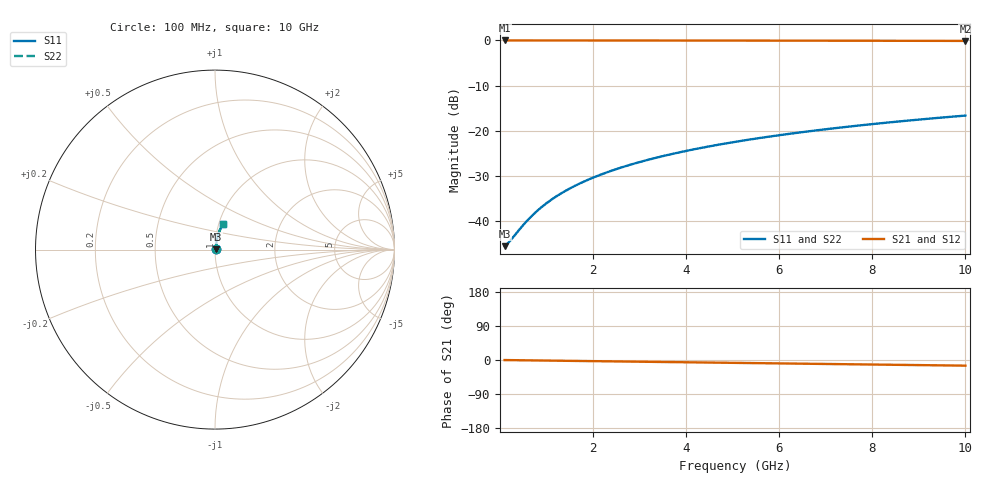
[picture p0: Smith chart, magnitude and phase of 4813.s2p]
# Hz S RI R 50.00
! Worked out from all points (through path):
!   100 points, 100 MHz to 10 GHz, reference 50 ohm
!   highest |S21| = -0.04 dB at 100 MHz (marker M1); lowest = -0.1 dB at 10 GHz (marker M2)
!   group delay of S21, straight-line fit = 4.15 ps
!   lowest |S11| = -45.5 dB at 100 MHz (marker M3), VSWR 1.01, Z = 50.5 + j0.15 ohm
!   |S11| at or under -10 dB: start of sweep to end of sweep
!   |S22| runs from -45.5 to -16.6 dB; largest |S21 - S12| = 0
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1e8  0.00512 0.00148  0.9949 -0.0026  0.9949 -0.0026  0.00512 0.00148
2e8  0.00516 0.00297  0.9948 -0.00521  0.9948 -0.00521  0.00516 0.00297
5e8  0.00531 0.00742  0.9947 -0.013  0.9947 -0.013  0.00531 0.00742
6e8  0.00536 0.0089  0.9946 -0.0156  0.9946 -0.0156  0.00536 0.0089
7e8  0.00543 0.0104  0.9945 -0.0182  0.9945 -0.0182  0.00543 0.0104
9e8  0.00557 0.0133  0.9944 -0.0234  0.9944 -0.0234  0.00557 0.0133
1.1e9  0.00575 0.0163  0.9942 -0.0286  0.9942 -0.0286  0.00575 0.0163
1.3e9  0.00595 0.0193  0.9939 -0.0338  0.9939 -0.0338  0.00595 0.0193
1.5e9  0.00619 0.0222  0.9937 -0.039  0.9937 -0.039  0.00619 0.0222
1.8e9  0.00659 0.0267  0.9932 -0.0468  0.9932 -0.0468  0.00659 0.0267
2.1e9  0.00707 0.0311  0.9926 -0.0546  0.9926 -0.0546  0.00707 0.0311
2.5e9  0.0078 0.037  0.9918 -0.0649  0.9918 -0.0649  0.0078 0.037
2.9e9  0.00866 0.0428  0.9908 -0.0753  0.9908 -0.0753  0.00866 0.0428
3.4e9  0.0099 0.0501  0.9893 -0.0882  0.9893 -0.0882  0.0099 0.0501
3.8e9  0.011 0.0559  0.988 -0.0985  0.988 -0.0985  0.011 0.0559
4.2e9  0.0123 0.0617  0.9866 -0.1088  0.9866 -0.1088  0.0123 0.0617
5.1e9  0.0155 0.0746  0.9828 -0.1318  0.9828 -0.1318  0.0155 0.0746
5.9e9  0.0189 0.0859  0.9788 -0.1521  0.9788 -0.1521  0.0189 0.0859
6.7e9  0.0228 0.0971  0.9743 -0.1722  0.9743 -0.1722  0.0228 0.0971
7.5e9  0.0271 0.108  0.9693 -0.1921  0.9693 -0.1921  0.0271 0.108
8.4e9  0.0324 0.1201  0.963 -0.2144  0.963 -0.2144  0.0324 0.1201
1e10  0.0433 0.1408  0.9503 -0.2531  0.9503 -0.2531  0.0433 0.1408
